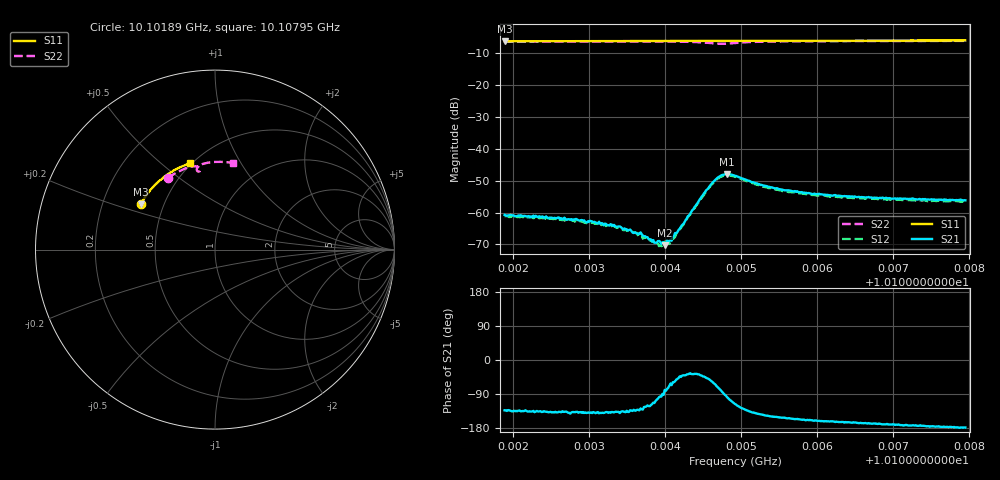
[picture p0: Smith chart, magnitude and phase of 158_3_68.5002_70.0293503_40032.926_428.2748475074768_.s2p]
#  HZ  S  RI  R  50.00
! Rohde & Schwarz Vector Network Analyzer
! Rohde-Schwarz,ZNB20-2Port,1311601062101988,3.16
! Created: UTC 3/20/2024, 4:55:41 PM
! freq[Hz]  re:S11  im:S11  re:S21  im:S21  re:S12  im:S12  re:S22  im:S22
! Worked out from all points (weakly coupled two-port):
!   401 points, 10.10189 GHz to 10.10795 GHz, reference 50 ohm
!   highest |S21| = -47.89 dB at 10.10481 GHz (marker M1); lowest = -70.3 dB at 10.104 GHz (marker M2)
!   lowest |S11| = -6.3 dB at 10.10189 GHz (marker M3), VSWR 2.88, Z = 18.5 + j12.2 ohm
!   |S11| at or under -10 dB: nowhere
!   |S22| runs from -7.1 to -6.2 dB; largest |S21 - S12| = 0.00039
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1.0101891e10  -0.4139 0.2526  -0.000623 -0.000677  -0.000531 -0.000701  -0.2606 0.3999
1.0102905e10  -0.381 0.3049  -0.000579 -0.000498  -0.000511 -0.00052  -0.2039 0.4347
1.0103314e10  -0.366 0.3248  -0.000457 -0.000415  -0.000427 -0.000462  -0.1789 0.4464
1.0103602e10  -0.3547 0.338  -0.000339 -0.000353  -0.000314 -0.000374  -0.1602 0.4537
1.0103708e10  -0.3505 0.3429  -0.000282 -0.000328  -0.000203 -0.000332  -0.1532 0.4564
1.0103859e10  -0.3443 0.3496  -0.000134 -0.00031  -9.98e-05 -0.000327  -0.1427 0.4595
1.0103919e10  -0.3419 0.3524  -5.32e-05 -0.00036  -4.68e-05 -0.000293  -0.1382 0.4605
1.010395e10  -0.3405 0.3537  -3.62e-05 -0.000318  2.62e-05 -0.000296  -0.1359 0.4613
1.010398e10  -0.3394 0.3551  -1.24e-05 -0.000343  4.25e-05 -0.000308  -0.1337 0.4617
1.0103995e10  -0.3386 0.3557  5.94e-05 -0.000301  5.97e-05 -0.000344  -0.1326 0.4619
1.0104041e10  -0.3368 0.3576  9.99e-05 -0.000341  0.000129 -0.000294  -0.1291 0.4627
1.0104101e10  -0.3342 0.3603  0.000213 -0.00035  0.00022 -0.000314  -0.1243 0.4634
1.0104222e10  -0.3289 0.3655  0.000475 -0.000422  0.000482 -0.000369  -0.1141 0.4642
1.010451e10  -0.3162 0.3775  0.00144 -0.00138  0.00147 -0.00119  -0.0877 0.4564
1.0104616e10  -0.3112 0.3817  0.00156 -0.00241  0.00172 -0.0022  -0.0817 0.446
1.0104722e10  -0.3065 0.3857  0.000794 -0.00364  0.00107 -0.00344  -0.0866 0.4357
1.0104813e10  -0.3024 0.3894  -0.000527 -0.004  -0.0002 -0.00383  -0.0964 0.4359
1.0104919e10  -0.2976 0.3936  -0.00166 -0.00339  -0.00133 -0.0034  -0.1016 0.446
1.0105388e10  -0.2753 0.4111  -0.00213 -0.00129  -0.00192 -0.00144  -0.0726 0.4755
1.0105933e10  -0.2479 0.4296  -0.00183 -0.000697  -0.0017 -0.000824  -0.034 0.485
1.0106947e10  -0.1941 0.459  -0.00166 -0.000293  -0.00155 -0.000425  0.0338 0.4889
1.0107946e10  -0.1378 0.4811  -0.00155 -5.19e-05  -0.00148 -0.000167  0.0981 0.4827
